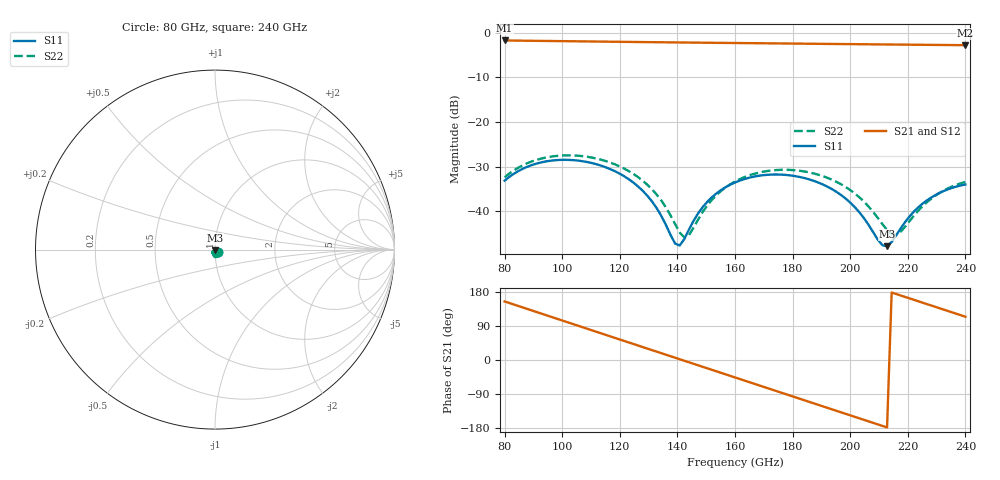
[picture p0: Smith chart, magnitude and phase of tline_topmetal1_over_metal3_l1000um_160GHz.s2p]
#  GHZ S DB R 50
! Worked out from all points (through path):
!   101 points, 80 GHz to 240 GHz, reference 50 ohm
!   highest |S21| = -1.78 dB at 80 GHz (marker M1); lowest = -2.8 dB at 240 GHz (marker M2)
!   group delay of S21, straight-line fit = 6.95 ps
!   lowest |S11| = -47.8 dB at 212.8 GHz (marker M3), VSWR 1.01, Z = 50 - j0.407 ohm
!   |S11| at or under -10 dB: start of sweep to end of sweep
!   |S22| runs from -45.8 to -27.5 dB; largest |S21 - S12| = 9e-14
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80  -33.14 -37.4  -1.78 154.5  -1.78 154.5  -32.40 -37.9
94.4  -28.83 -60.2  -1.89 118.3  -1.89 118.3  -27.96 -61.1
107.2  -28.80 -88.2  -1.98 86.2  -1.98 86.2  -27.67 -89.2
115.2  -30.17 -105.9  -2.04 66.1  -2.04 66.1  -28.77 -107.0
123.2  -32.86 -122.2  -2.10 46.1  -2.10 46.1  -31.03 -123.7
129.6  -36.54 -132.1  -2.15 30.0  -2.15 30.0  -34.07 -134.7
134.4  -41.01 -132.3  -2.18 18.0  -2.18 18.0  -37.58 -138.5
139.2  -47.21 -101.2  -2.22 6.0  -2.22 6.0  -42.84 -127.9
140.8  -47.64 -76.7  -2.23 2.0  -2.23 2.0  -44.75 -115.1
142.4  -46.19 -56.0  -2.24 -2.0  -2.24 -2.0  -45.83 -95.4
144  -44.10 -44.2  -2.25 -6.0  -2.25 -6.0  -45.32 -74.3
150.4  -37.85 -37.2  -2.29 -22.0  -2.29 -22.0  -38.66 -45.7
160  -33.55 -52.7  -2.35 -46.0  -2.35 -46.0  -33.33 -56.3
174.4  -31.76 -83.9  -2.44 -82.0  -2.44 -82.0  -30.76 -85.8
187.2  -33.15 -111.8  -2.52 -114.0  -2.52 -114.0  -31.50 -113.2
201.6  -39.06 -135.5  -2.61 -150.0  -2.61 -150.0  -36.01 -138.3
209.6  -46.35 -119.0  -2.66 -170.0  -2.66 -170.0  -41.48 -136.9
212.8  -47.79 -86.4  -2.68 -177.9  -2.68 -177.9  -44.18 -122.8
214.4  -46.86 -70.5  -2.69 178.1  -2.69 178.1  -45.07 -110.3
217.6  -43.75 -53.8  -2.70 170.1  -2.70 170.1  -44.51 -82.8
225.6  -38.04 -53.2  -2.75 150.1  -2.75 150.1  -38.56 -62.4
240  -33.99 -79.7  -2.83 114.2  -2.83 114.2  -33.43 -82.3
